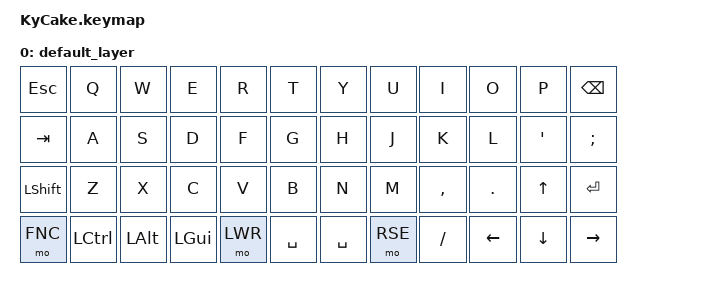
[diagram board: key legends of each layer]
#include <behaviors.dtsi>
#include <dt-bindings/zmk/keys.h>
#include <dt-bindings/zmk/bt.h>
#include <dt-bindings/zmk/outputs.h>

#define DEF 0
#define LWR 1
#define RSE 2
#define FNC 3

/ {
    keymap {
        compatible = "zmk,keymap";

        default_layer {
            bindings = <
                &kp ESC     &kp Q       &kp W       &kp E       &kp R       &kp T       &kp Y       &kp U       &kp I       &kp O     &kp P       &kp BSPC
                &kp TAB     &kp A       &kp S       &kp D       &kp F       &kp G       &kp H       &kp J       &kp K       &kp L     &kp SQT     &kp SEMI
                &kp LSHFT   &kp Z       &kp X       &kp C       &kp V       &kp B       &kp N       &kp M       &kp COMMA   &kp DOT   &kp UP      &kp ENTER
                &mo FNC   &kp LCTRL    &kp LALT    &kp LGUI     &mo LWR     &kp SPACE   &kp SPACE   &mo RSE     &kp SLASH   &kp LEFT  &kp DOWN  &kp RIGHT
            >;
       lower_layer {
            bindings = <
                &bootloader     &kp F1          &kp F2          &kp F3          &kp F4          &kp F5          &kp F6      &kp F7      &kp F8      &kp F9      &kp F10     &trans
                &trans          &trans          &trans          &trans          &trans          &trans          &trans      &trans      &kp MINUS   &kp F11     &kp F12     &trans
                &bt BT_CLR      &bt BT_SEL 0    &bt BT_SEL 1    &bt BT_SEL 2    &bt BT_SEL 3    &bt BT_SEL 4    &trans      &trans      &trans      &trans      &trans      &trans
                &out OUT_BLE    &out OUT_USB    &out OUT_TOG    &trans          &trans          &trans          &trans      &trans      &trans      &trans      &trans      &trans
            >;
        };
    };
};
